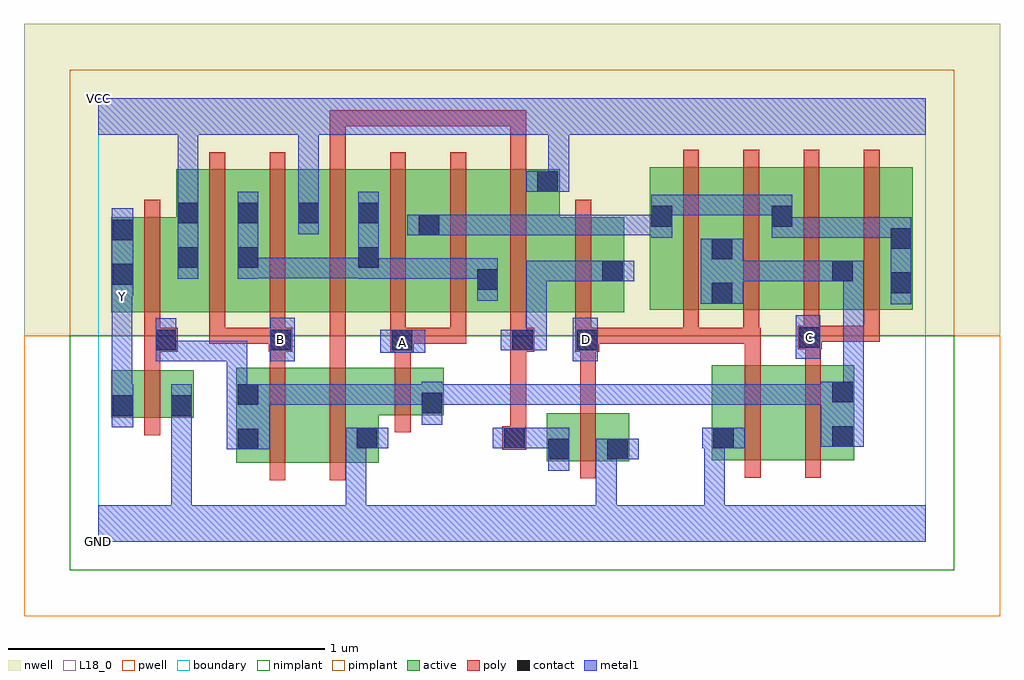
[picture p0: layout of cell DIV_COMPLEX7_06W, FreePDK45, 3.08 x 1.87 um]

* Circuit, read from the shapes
.subckt DIV_COMPLEX7_06W A B C D GND VCC Y
M1 GND n1 Y VSUBS nfet w=0.15u l=0.05u
M2 n2 B n1 VSUBS nfet w=0.3u l=0.05u
M3 GND n3 n2 VSUBS nfet w=0.3u l=0.05u
M4 n1 A GND VSUBS nfet w=0.15u l=0.05u
M5 GND D n3 VSUBS nfet w=0.15u l=0.05u
M6 n4 D GND VSUBS nfet w=0.3u l=0.05u
M7 n1 C n4 VSUBS nfet w=0.3u l=0.05u
M8 VCC n1 Y n5 pfet w=0.3u l=0.05u
M9 n6 B VCC n5 pfet w=0.45u l=0.05u m=2
M10 n6 n3 VCC n5 pfet w=0.45u l=0.05u m=2
M11 n7 A n6 n5 pfet w=0.45u l=0.05u m=2
M12 n3 D VCC n5 pfet w=0.3u l=0.05u
M13 n1 D n7 n5 pfet w=0.45u l=0.05u m=2
M14 n1 C n7 n5 pfet w=0.45u l=0.05u m=2
.ends

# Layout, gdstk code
import gdstk
lib = gdstk.Library(unit=1e-6, precision=1e-09)
def R(c, l, rs):  # rectangles x0, y0, x1, y1
    for r in rs: c.add(gdstk.rectangle(r[:2], r[2:], *l))
def A(c, l, x, y, w, h, nx, ny, dx, dy):  # array of equal rectangles
    R(c, l, [(x+i*dx, y+j*dy, x+i*dx+w, y+j*dy+h) for i in range(nx) for j in range(ny)])
active = (1, 0)
pwell = (2, 0)
nwell = (3, 0)
nimplant = (4, 0)
pimplant = (5, 0)
poly = (9, 0)
contact = (10, 0)
metal1 = (11, 0)
L18_0 = (18, 0)
boundary = (235, 0)

div_complex7_06w = lib.new_cell('DIV_COMPLEX7_06W')
A(div_complex7_06w, active, 0.245, 0.725, 0.265, 0.45, 4, 1, 0.19, 0)
A(div_complex7_06w, active, 0.245, 0.725, 0.075, 0.45, 5, 1, 0.19, 0)
A(div_complex7_06w, active, 1.74, 0.732, 0.265, 0.45, 3, 1, 0.19, 0)
R(div_complex7_06w, active, [(0.435,0.25,0.66,0.55), (0.66,0.25,0.885,0.55), (1.415,0.255,1.49,0.405), (1.415,0.255,1.675,0.405), (1.6,0.255,1.675,0.405), (0.435,0.257,0.51,0.55), (1.935,0.257,2.16,0.557), (1.935,0.257,2.01,0.557), (2.16,0.257,2.385,0.557), (0.81,0.29,0.885,0.422), (2.31,0.295,2.385,0.557), (0.04,0.392,0.115,0.542), (0.04,0.392,0.3,0.542), (0.225,0.392,0.3,0.542), (0.81,0.4,1.09,0.55), (1.015,0.4,1.09,0.55), (0.04,0.725,0.115,1.025), (0.04,0.725,0.32,1.025), (1.005,0.725,1.265,1.175), (1.19,0.725,1.455,1.175), (1.19,0.725,1.265,1.07), (1.38,0.725,1.66,1.025), (1.74,0.732,1.815,1.155), (1.93,0.732,2.005,1.07), (2.12,0.732,2.195,1.155), (2.31,0.732,2.57,1.182), (2.31,0.732,2.385,1.07), (2.495,0.732,2.57,1.155), (1.585,0.817,1.66,1.005), (1.38,0.852,1.455,1.175)])
R(div_complex7_06w, pwell, [(-0.235,-0.235,2.845,0.65)])
R(div_complex7_06w, nwell, [(-0.235,0.65,2.845,1.635)])
R(div_complex7_06w, nimplant, [(-0.09,-0.09,2.7,0.65)])
R(div_complex7_06w, pimplant, [(-0.09,0.65,2.7,1.49)])
A(div_complex7_06w, poly, 0.92, 0.625, 0.05, 0.095, 3, 1, 0.19, 0)
A(div_complex7_06w, poly, 0.35, 0.67, 0.05, 0.56, 6, 1, 0.19, 0)
A(div_complex7_06w, poly, 1.845, 0.677, 0.05, 0.56, 4, 1, 0.19, 0)
R(div_complex7_06w, poly, [(0.54,0.195,0.59,0.605), (0.73,0.195,0.78,0.605), (1.52,0.2,1.57,0.46), (2.04,0.202,2.09,0.612), (2.23,0.202,2.28,0.612), (1.275,0.29,1.35,0.365), (1.3,0.315,1.35,0.365), (1.3,0.315,1.35,0.365), (1.3,0.315,1.35,0.65), (0.145,0.337,0.195,0.597), (0.935,0.345,0.985,0.605), (1.52,0.41,1.57,0.65), (0.145,0.547,0.195,0.65), (0.54,0.555,0.59,0.65), (0.73,0.555,0.78,0.65), (0.935,0.555,0.985,0.65), (2.04,0.562,2.09,0.675), (2.23,0.562,2.28,0.657), (0.145,0.6,0.25,0.675), (0.537,0.6,0.612,0.675), (0.73,0.6,0.78,0.65), (0.73,0.6,0.78,0.72), (0.92,0.6,0.995,0.675), (1.3,0.6,1.375,0.675), (1.505,0.6,1.58,0.675), (2.207,0.607,2.282,0.682), (0.145,0.625,0.195,0.72), (0.35,0.625,0.4,0.72), (0.35,0.625,0.4,0.675), (0.35,0.625,0.587,0.675), (0.537,0.625,0.587,0.675), (0.537,0.625,0.587,0.675), (0.54,0.625,0.59,0.72), (0.945,0.625,1.16,0.675), (1.11,0.625,1.16,0.675), (1.11,0.625,1.16,0.675), (1.11,0.625,1.16,0.675), (1.505,0.625,1.555,0.72), (1.53,0.625,1.58,0.675), (1.53,0.625,1.58,0.675), (1.53,0.625,1.895,0.675), (1.845,0.625,1.895,0.675), (1.845,0.625,1.895,0.675), (1.845,0.625,1.895,0.675), (1.845,0.625,1.895,0.727), (1.845,0.625,2.085,0.675), (2.035,0.625,2.085,0.675), (2.035,0.625,2.085,0.675), (2.035,0.625,2.085,0.727), (2.035,0.625,2.09,0.675), (2.225,0.632,2.275,0.727), (2.232,0.632,2.465,0.682), (2.415,0.632,2.465,0.727), (2.415,0.632,2.465,0.682), (2.415,0.632,2.465,0.682), (2.415,0.632,2.465,0.682), (0.145,0.67,0.195,1.08), (1.505,0.67,1.555,1.08), (0.73,1.18,0.78,1.362), (1.3,1.18,1.35,1.362), (0.73,1.312,0.78,1.362), (0.73,1.312,1.027,1.362), (0.977,1.312,1.027,1.362), (0.977,1.312,1.027,1.362), (0.977,1.312,1.027,1.362), (0.977,1.312,1.192,1.362), (1.142,1.312,1.192,1.362), (1.142,1.312,1.192,1.362), (1.142,1.312,1.192,1.362), (1.142,1.312,1.35,1.362), (1.3,1.312,1.35,1.362), (1.3,1.312,1.35,1.362), (1.3,1.312,1.35,1.362)])
A(div_complex7_06w, contact, 0.25, 1.005, 0.065, 0.065, 4, 1, 0.19, 0)
R(div_complex7_06w, contact, [(1.42,0.26,1.485,0.325), (1.605,0.26,1.67,0.325), (0.44,0.292,0.505,0.357), (0.815,0.295,0.88,0.36), (1.28,0.295,1.345,0.36), (1.94,0.295,2.005,0.36), (2.315,0.3,2.38,0.365), (0.045,0.397,0.11,0.462), (0.23,0.397,0.295,0.462), (1.02,0.405,1.085,0.47), (0.44,0.432,0.505,0.497), (2.315,0.44,2.38,0.505), (0.18,0.605,0.245,0.67), (0.542,0.605,0.607,0.67), (0.925,0.605,0.99,0.67), (1.305,0.605,1.37,0.67), (1.51,0.605,1.575,0.67), (2.212,0.612,2.277,0.677), (1.935,0.752,2,0.817), (2.5,0.785,2.565,0.85), (1.195,0.795,1.26,0.86), (0.045,0.812,0.11,0.877), (1.59,0.822,1.655,0.887), (2.315,0.822,2.38,0.887), (0.25,0.865,0.315,0.93), (0.44,0.865,0.505,0.93), (0.82,0.865,0.885,0.93), (1.935,0.892,2,0.957), (2.5,0.925,2.565,0.99), (0.045,0.952,0.11,1.017), (1.01,0.967,1.075,1.032), (1.745,0.995,1.81,1.06), (2.125,0.995,2.19,1.06), (1.385,1.105,1.45,1.17)])
A(div_complex7_06w, metal1, 1.882, 1.03, 0.065, 0.065, 3, 1, 0.09, 0)
R(div_complex7_06w, metal1, [(0,0,2.61,0.115), (0.23,0.05,0.295,0.115), (0.23,0.05,0.295,0.115), (0.23,0.05,0.295,0.115), (0.23,0.05,0.295,0.115), (0.23,0.05,0.295,0.29), (0.78,0.05,0.845,0.115), (0.78,0.05,0.845,0.115), (0.78,0.05,0.845,0.36), (1.57,0.05,1.635,0.115), (1.57,0.05,1.635,0.115), (1.57,0.05,1.635,0.115), (1.57,0.05,1.635,0.115), (1.57,0.05,1.635,0.115), (1.57,0.05,1.635,0.115), (1.57,0.05,1.635,0.325), (1.912,0.05,1.977,0.115), (1.912,0.05,1.977,0.115), (1.912,0.05,1.977,0.36), (0.23,0.225,0.295,0.29), (0.23,0.225,0.295,0.427), (1.42,0.225,1.485,0.36), (1.57,0.26,1.705,0.325), (0.405,0.292,0.54,0.497), (0.78,0.295,0.845,0.36), (0.78,0.295,0.845,0.36), (0.78,0.295,0.915,0.36), (1.245,0.295,1.38,0.36), (1.315,0.295,1.485,0.36), (1.905,0.295,2.04,0.36), (1.912,0.295,1.977,0.36), (1.912,0.295,1.977,0.36), (2.28,0.3,2.415,0.505), (0.042,0.362,0.11,0.497), (0.23,0.362,0.295,0.497), (1.02,0.37,1.085,0.505), (0.042,0.432,0.107,0.772), (0.405,0.432,0.47,0.635), (0.475,0.432,0.607,0.497), (0.542,0.432,0.607,0.497), (0.542,0.432,0.707,0.497), (0.642,0.432,0.707,0.497), (0.642,0.432,0.747,0.497), (0.682,0.432,0.747,0.497), (0.682,0.432,0.885,0.497), (0.82,0.432,0.885,0.497), (0.82,0.432,0.885,0.497), (0.82,0.432,0.885,0.497), (0.82,0.432,1.085,0.497), (1.02,0.432,1.11,0.497), (1.045,0.432,1.11,0.497), (1.045,0.432,1.26,0.497), (1.195,0.432,1.26,0.497), (1.195,0.432,1.26,0.497), (1.195,0.432,1.26,0.497), (1.195,0.432,1.482,0.497), (1.417,0.432,1.482,0.497), (1.417,0.432,1.672,0.497), (1.607,0.432,1.672,0.497), (1.607,0.432,1.81,0.497), (1.745,0.432,1.81,0.497), (1.745,0.432,1.81,0.497), (1.745,0.432,1.81,0.497), (1.745,0.432,1.947,0.497), (1.882,0.432,1.947,0.497), (1.882,0.432,2.037,0.497), (1.972,0.432,2.037,0.497), (1.972,0.432,2.085,0.497), (2.02,0.432,2.085,0.497), (2.02,0.432,2.207,0.497), (2.142,0.432,2.207,0.497), (2.142,0.432,2.345,0.497), (2.28,0.432,2.345,0.497), (2.28,0.432,2.345,0.497), (2.35,0.44,2.415,0.887), (0.18,0.57,0.245,0.635), (0.18,0.57,0.245,0.635), (0.18,0.57,0.245,0.705), (0.18,0.57,0.47,0.635), (0.405,0.57,0.47,0.635), (0.405,0.57,0.47,0.635), (0.405,0.57,0.47,0.635), (0.542,0.57,0.62,0.707), (1.497,0.57,1.575,0.707), (2.2,0.577,2.277,0.715), (0.89,0.597,1.032,0.67), (1.27,0.605,1.415,0.67), (1.35,0.605,1.415,0.67), (1.35,0.605,1.415,0.67), (1.35,0.605,1.415,0.887), (0.042,0.707,0.107,0.842), (2.5,0.75,2.565,1.025), (1.9,0.752,2.035,0.957), (1.195,0.76,1.26,0.895), (0.042,0.777,0.107,0.842), (0.042,0.777,0.11,1.052), (1.35,0.822,1.415,0.887), (1.35,0.822,1.62,0.887), (1.555,0.822,1.62,0.887), (1.555,0.822,1.62,0.887), (1.555,0.822,1.69,0.887), (1.97,0.822,2.085,0.887), (2.02,0.822,2.085,0.887), (2.02,0.822,2.207,0.887), (2.142,0.822,2.207,0.887), (2.142,0.822,2.345,0.887), (2.28,0.822,2.345,0.887), (2.28,0.822,2.345,0.887), (2.28,0.822,2.415,0.887), (2.35,0.822,2.415,0.887), (2.35,0.822,2.415,0.887), (0.25,0.83,0.315,1.105), (0.44,0.83,0.505,1.105), (0.82,0.83,0.885,0.895), (0.82,0.83,0.885,0.895), (0.82,0.83,0.885,1.105), (0.82,0.83,1.122,0.895), (1.057,0.83,1.122,0.895), (1.057,0.83,1.122,0.895), (1.057,0.83,1.122,0.895), (1.057,0.83,1.26,0.895), (0.44,0.832,0.61,0.897), (0.545,0.832,0.61,0.897), (0.545,0.832,0.707,0.897), (0.642,0.832,0.707,0.897), (0.642,0.832,0.747,0.897), (0.682,0.832,0.747,0.897), (0.682,0.832,0.885,0.897), (1.745,0.96,1.81,1.095), (2.125,0.96,2.427,1.025), (2.125,0.96,2.19,1.095), (2.362,0.96,2.427,1.025), (2.362,0.96,2.427,1.025), (2.362,0.96,2.427,1.025), (2.362,0.96,2.565,1.025), (2.5,0.96,2.565,1.025), (2.5,0.96,2.565,1.025), (0.975,0.967,1.11,1.032), (1.045,0.967,1.11,1.032), (1.045,0.967,1.11,1.032), (1.045,0.967,1.26,1.032), (1.195,0.967,1.26,1.032), (1.195,0.967,1.26,1.032), (1.195,0.967,1.26,1.032), (1.195,0.967,1.482,1.032), (1.417,0.967,1.482,1.032), (1.417,0.967,1.585,1.032), (1.52,0.967,1.585,1.032), (1.52,0.967,1.81,1.032), (1.745,0.967,1.81,1.032), (1.745,0.967,1.81,1.032), (0.63,0.97,0.695,1.105), (1.745,1.03,1.947,1.095), (1.882,1.03,2.037,1.095), (1.972,1.03,2.127,1.095), (2.062,1.03,2.19,1.095), (0.25,1.04,0.315,1.105), (0.25,1.04,0.315,1.105), (0.25,1.04,0.315,1.35), (0.63,1.04,0.695,1.105), (0.63,1.04,0.695,1.105), (0.63,1.04,0.695,1.35), (1.35,1.105,1.485,1.17), (1.42,1.105,1.485,1.35), (0,1.285,2.61,1.4), (1.42,1.285,1.485,1.35), (1.42,1.285,1.485,1.35)])
R(div_complex7_06w, L18_0, [(0,0,2.61,0.115), (0.23,0.05,0.295,0.115), (0.23,0.05,0.295,0.115), (0.23,0.05,0.295,0.115), (0.23,0.05,0.295,0.115), (0.23,0.05,0.295,0.29), (0.78,0.05,0.845,0.115), (0.78,0.05,0.845,0.115), (0.78,0.05,0.845,0.36), (1.57,0.05,1.635,0.115), (1.57,0.05,1.635,0.115), (1.57,0.05,1.635,0.115), (1.57,0.05,1.635,0.115), (1.57,0.05,1.635,0.115), (1.57,0.05,1.635,0.115), (1.57,0.05,1.635,0.325), (1.912,0.05,1.977,0.115), (1.912,0.05,1.977,0.115), (1.912,0.05,1.977,0.36), (0.23,0.225,0.295,0.29), (0.23,0.225,0.295,0.427), (1.57,0.26,1.705,0.325), (0.78,0.295,0.845,0.36), (0.78,0.295,0.845,0.36), (0.78,0.295,0.915,0.36), (1.905,0.295,2.04,0.36), (1.912,0.295,1.977,0.36), (1.912,0.295,1.977,0.36), (0.042,0.362,0.11,0.497), (0.23,0.362,0.295,0.497), (0.042,0.432,0.107,0.772), (0.542,0.57,0.62,0.707), (1.497,0.57,1.575,0.707), (2.2,0.577,2.277,0.715), (0.89,0.597,1.032,0.67), (0.927,0.597,0.992,0.662), (0.542,0.607,0.607,0.672), (1.507,0.607,1.572,0.672), (2.212,0.612,2.277,0.677), (0.042,0.707,0.107,0.842), (0.042,0.742,0.107,0.807), (0.042,0.777,0.11,1.052), (0.042,0.777,0.107,0.842), (0.25,0.83,0.315,1.105), (0.63,0.97,0.695,1.105), (0.25,1.04,0.315,1.105), (0.25,1.04,0.315,1.105), (0.25,1.04,0.315,1.35), (0.63,1.04,0.695,1.105), (0.63,1.04,0.695,1.105), (0.63,1.04,0.695,1.35), (1.35,1.105,1.485,1.17), (1.42,1.105,1.485,1.35), (0,1.285,2.61,1.4), (1.42,1.285,1.485,1.35), (1.42,1.285,1.485,1.35)])
R(div_complex7_06w, boundary, [(0,0,2.61,1.4)])
div_complex7_06w.add(gdstk.Label('A', (0.96,0.63), layer=11, texttype=0))
div_complex7_06w.add(gdstk.Label('B', (0.575,0.64), layer=11, texttype=0))
div_complex7_06w.add(gdstk.Label('C', (2.245,0.645), layer=11, texttype=0))
div_complex7_06w.add(gdstk.Label('D', (1.54,0.64), layer=11, texttype=0))
div_complex7_06w.add(gdstk.Label('Y', (0.075,0.775), layer=11, texttype=0))
div_complex7_06w.add(gdstk.Label('VCC', (0,1.4), layer=11, texttype=0))
div_complex7_06w.add(gdstk.Label('GND', (0,0), layer=11, texttype=0))

lib.write_gds('DIV_COMPLEX7_06W.gds')
